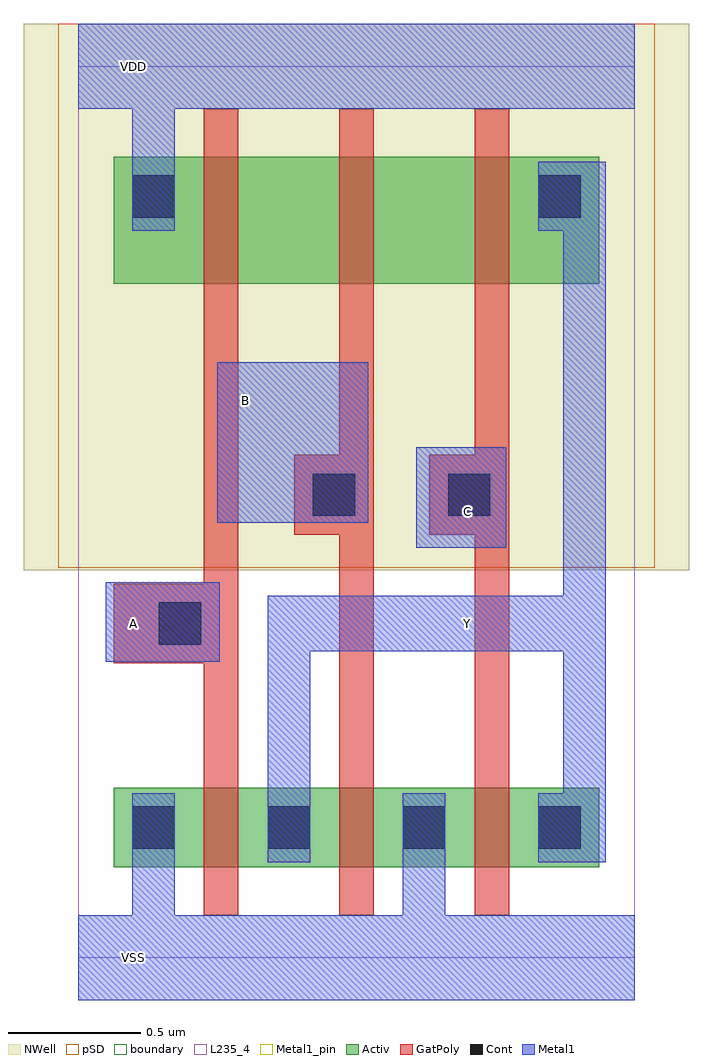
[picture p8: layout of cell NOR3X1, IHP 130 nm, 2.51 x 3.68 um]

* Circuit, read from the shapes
.subckt NOR3X1 A B C VDD VSS Y
XM1 Y A VSS VSUBS sg13_lv_nmos w=0.3u l=0.13u
XM2 VSS B Y VSUBS sg13_lv_nmos w=0.3u l=0.13u
XM3 Y C VSS VSUBS sg13_lv_nmos w=0.3u l=0.13u
XM4 n1 A VDD n2 sg13_lv_pmos w=0.48u l=0.13u
XM5 n3 B n1 n2 sg13_lv_pmos w=0.48u l=0.13u
XM6 Y C n3 n2 sg13_lv_pmos w=0.48u l=0.13u
.ends

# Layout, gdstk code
import gdstk
lib = gdstk.Library(unit=1e-6, precision=1e-09)
def R(c, l, rs):  # rectangles x0, y0, x1, y1
    for r in rs: c.add(gdstk.rectangle(r[:2], r[2:], *l))
def A(c, l, x, y, w, h, nx, ny, dx, dy):  # array of equal rectangles
    R(c, l, [(x+i*dx, y+j*dy, x+i*dx+w, y+j*dy+h) for i in range(nx) for j in range(ny)])
def P(c, l, *ps):  # polygons
    for p in ps: c.add(gdstk.Polygon(p, *l))
Activ = (1, 0)
GatPoly = (5, 0)
Cont = (6, 0)
Metal1 = (8, 0)
Metal1_pin = (8, 2)
pSD = (14, 0)
NWell = (31, 0)
boundary = (189, 4)
L235_4 = (235, 4)

nor3x1 = lib.new_cell('NOR3X1')
R(nor3x1, Activ, [(0.135,0.34,1.965,0.64), (0.135,2.54,1.965,3.02)])
P(nor3x1, GatPoly, [(0.475,0.16),(0.475,1.11),(0.135,1.11),(0.135,1.41),(0.475,1.41),(0.475,3.2),(0.605,3.2),(0.605,0.16)],
  [(0.985,0.16),(0.985,1.595),(0.815,1.595),(0.815,1.895),(0.985,1.895),(0.985,3.2),(1.115,3.2),(1.115,0.16)],
  [(1.495,0.16),(1.495,1.595),(1.325,1.595),(1.325,1.895),(1.495,1.895),(1.495,3.2),(1.625,3.2),(1.625,0.16)])
A(nor3x1, Cont, 0.205, 0.41, 0.16, 0.16, 4, 1, 0.51, 0)
R(nor3x1, Cont, [(0.305,1.18,0.465,1.34), (0.885,1.665,1.045,1.825), (1.395,1.665,1.555,1.825), (0.205,2.79,0.365,2.95), (1.735,2.79,1.895,2.95)])
R(nor3x1, Metal1, [(0.105,1.115,0.535,1.415), (1.275,1.545,1.615,1.925), (0.525,1.64,1.095,2.245)])
P(nor3x1, Metal1, [(0.205,2.74),(0.205,3.2),(0,3.2),(0,3.52),(2.1,3.52),(2.1,3.2),(0.365,3.2),(0.365,2.74)],
  [(0.715,0.36),(0.715,1.365),(1.83,1.365),(1.83,2.74),(1.735,2.74),(1.735,3),(1.99,3),(1.99,0.36),(1.735,0.36),(1.735,0.62),(1.83,0.62),(1.83,1.155),(0.875,1.155),(0.875,0.36)],
  [(0,-0.16),(0,0.16),(0.205,0.16),(0.205,0.62),(0.365,0.62),(0.365,0.16),(1.225,0.16),(1.225,0.62),(1.385,0.62),(1.385,0.16),(2.1,0.16),(2.1,-0.16)])
R(nor3x1, Metal1_pin, [(0,-0.16,2.1,0.16), (1.83,0.36,1.99,3), (0.105,1.115,0.535,1.415), (1.275,1.545,1.615,1.925), (0.525,1.64,1.095,2.245), (0,3.2,2.1,3.52)])
P(nor3x1, Metal1_pin, [(0,-0.16),(0,0.16),(0.205,0.16),(0.205,0.62),(0.365,0.62),(0.365,0.16),(1.225,0.16),(1.225,0.62),(1.385,0.62),(1.385,0.16),(2.1,0.16),(2.1,-0.16)],
  [(0.715,0.36),(0.715,1.365),(1.83,1.365),(1.83,2.74),(1.735,2.74),(1.735,3),(1.99,3),(1.99,0.36),(1.735,0.36),(1.735,0.62),(1.83,0.62),(1.83,1.155),(0.875,1.155),(0.875,0.36)],
  [(0.205,2.74),(0.205,3.2),(0,3.2),(0,3.52),(2.1,3.52),(2.1,3.2),(0.365,3.2),(0.365,2.74)])
R(nor3x1, pSD, [(-0.075,1.47,2.175,3.52)])
R(nor3x1, NWell, [(-0.205,1.46,2.305,3.52)])
R(nor3x1, boundary, [(0,0,2.1,3.36)])
R(nor3x1, L235_4, [(0,0,2.1,3.36)])
nor3x1.add(gdstk.Label('A', (0.21,1.26), layer=8, texttype=25))
nor3x1.add(gdstk.Label('B', (0.63,2.1), layer=8, texttype=25))
nor3x1.add(gdstk.Label('C', (1.47,1.68), layer=8, texttype=25))
nor3x1.add(gdstk.Label('VDD', (0.21,3.36), layer=8, texttype=25))
nor3x1.add(gdstk.Label('VSS', (0.21,0), layer=8, texttype=25))
nor3x1.add(gdstk.Label('Y', (1.47,1.26), layer=8, texttype=25))

lib.write_gds('NOR3X1.gds')
